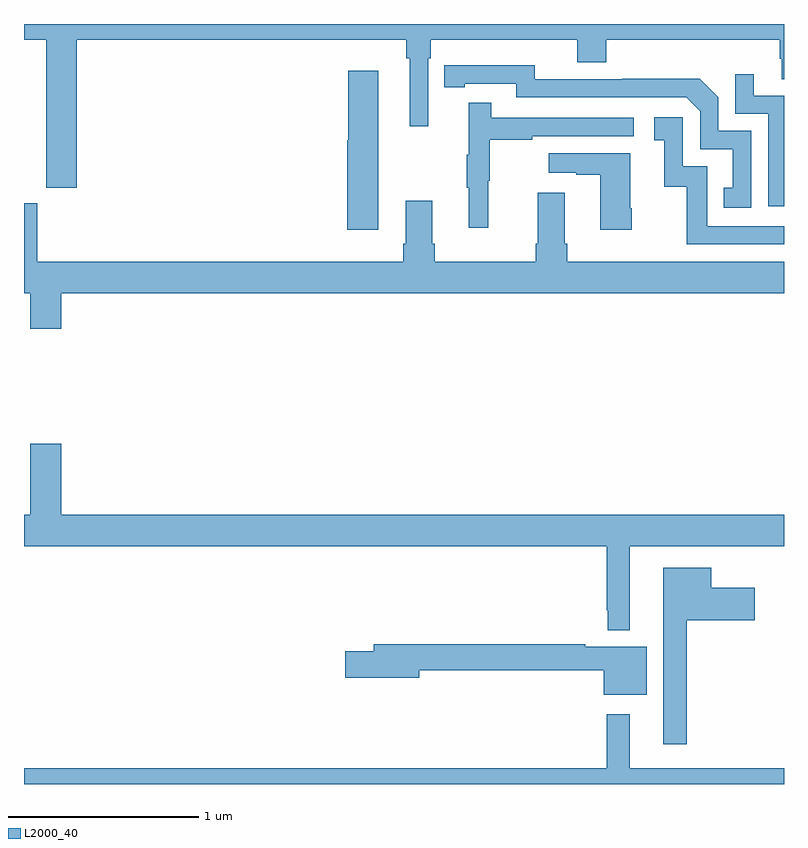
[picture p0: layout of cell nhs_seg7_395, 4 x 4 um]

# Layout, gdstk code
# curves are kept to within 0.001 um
import gdstk
lib = gdstk.Library(unit=1e-6, precision=1e-09)
def P(c, l, *ps):  # polygons
    for p in ps: c.add(gdstk.Polygon(p, *l))
L2000_40 = (2000, 40)

nhs_seg7_395 = lib.new_cell('nhs_seg7_395')
P(nhs_seg7_395, L2000_40, [(141.278,1033.916),(143.011,1033.916),(143.011,1033.82),(143.03,1033.82),(143.03,1033.461),(143.127,1033.461),(143.127,1033.82),(143.141,1033.82),(143.141,1033.916),(143.912,1033.916),(143.912,1033.799),(144.065,1033.799),(144.065,1033.916),(144.977,1033.916),(144.977,1033.818),(144.989,1033.818),(144.989,1033.708),(145,1033.708),(145,1034),(141,1034),(141,1033.916),(141.118,1033.916),(141.118,1033.137),(141.278,1033.137)],
  [(144.828,1033.437),(144.654,1033.437),(144.654,1033.614),(144.556,1033.712),(144.148,1033.712),(144.148,1033.71),(143.688,1033.71),(143.688,1033.783),(143.212,1033.782),(143.212,1033.666),(143.32,1033.666),(143.32,1033.686),(143.592,1033.686),(143.592,1033.614),(144.486,1033.614),(144.558,1033.542),(144.558,1033.341),(144.731,1033.341),(144.731,1033.137),(144.682,1033.137),(144.682,1033.032),(144.828,1033.032)],
  [(142.864,1033.753),(142.706,1033.753),(142.706,1033.389),(142.7,1033.389),(142.7,1032.918),(142.864,1032.918)],
  [(145,1033.623),(144.841,1033.623),(144.841,1033.735),(144.744,1033.735),(144.744,1033.527),(144.918,1033.527),(144.918,1033.041),(145,1033.041)],
  [(143.444,1033.176),(143.452,1033.176),(143.452,1033.39),(143.675,1033.39),(143.675,1033.41),(144.208,1033.41),(144.208,1033.506),(143.459,1033.506),(143.459,1033.585),(143.342,1033.585),(143.342,1033.313),(143.331,1033.313),(143.331,1033.139),(143.342,1033.139),(143.342,1032.927),(143.444,1032.927)],
  [(145,1032.936),(144.597,1032.936),(144.597,1033.251),(144.468,1033.251),(144.468,1033.51),(144.318,1033.51),(144.318,1033.389),(144.371,1033.389),(144.371,1033.143),(144.489,1033.143),(144.489,1032.84),(145,1032.84)],
  [(144.198,1033.03),(144.19,1033.03),(144.19,1033.321),(143.763,1033.321),(143.763,1033.217),(143.906,1033.217),(143.906,1033.207),(144.032,1033.207),(144.032,1032.918),(144.198,1032.918)],
  [(141.196,1032.584),(145,1032.584),(145,1032.748),(143.858,1032.748),(143.858,1032.844),(143.845,1032.844),(143.845,1033.111),(143.705,1033.111),(143.705,1032.844),(143.693,1032.844),(143.693,1032.748),(143.162,1032.748),(143.162,1032.844),(143.149,1032.844),(143.149,1033.069),(143.009,1033.069),(143.009,1032.844),(142.997,1032.844),(142.997,1032.748),(141.07,1032.748),(141.07,1033.057),(141,1033.057),(141,1032.584),(141.032,1032.584),(141.032,1032.396),(141.196,1032.396)],
  [(144.066,1030.915),(144.072,1030.915),(144.072,1030.808),(144.187,1030.808),(144.187,1031.252),(145,1031.252),(145,1031.416),(141.196,1031.416),(141.196,1031.791),(141.032,1031.791),(141.032,1031.416),(141,1031.416),(141,1031.252),(144.066,1031.252)],
  [(144.487,1030.862),(144.847,1030.862),(144.847,1031.032),(144.616,1031.032),(144.616,1031.137),(144.365,1031.137),(144.365,1030.209),(144.487,1030.209)],
  [(144.277,1030.723),(143.954,1030.723),(143.954,1030.736),(142.841,1030.736),(142.841,1030.7),(142.692,1030.7),(142.692,1030.558),(143.08,1030.558),(143.08,1030.6),(144.05,1030.6),(144.05,1030.469),(144.277,1030.469)],
  [(141,1030),(145,1030),(145,1030.084),(144.187,1030.084),(144.187,1030.366),(144.066,1030.366),(144.066,1030.084),(141,1030.084)])

lib.write_gds('nhs_seg7_395.gds')
